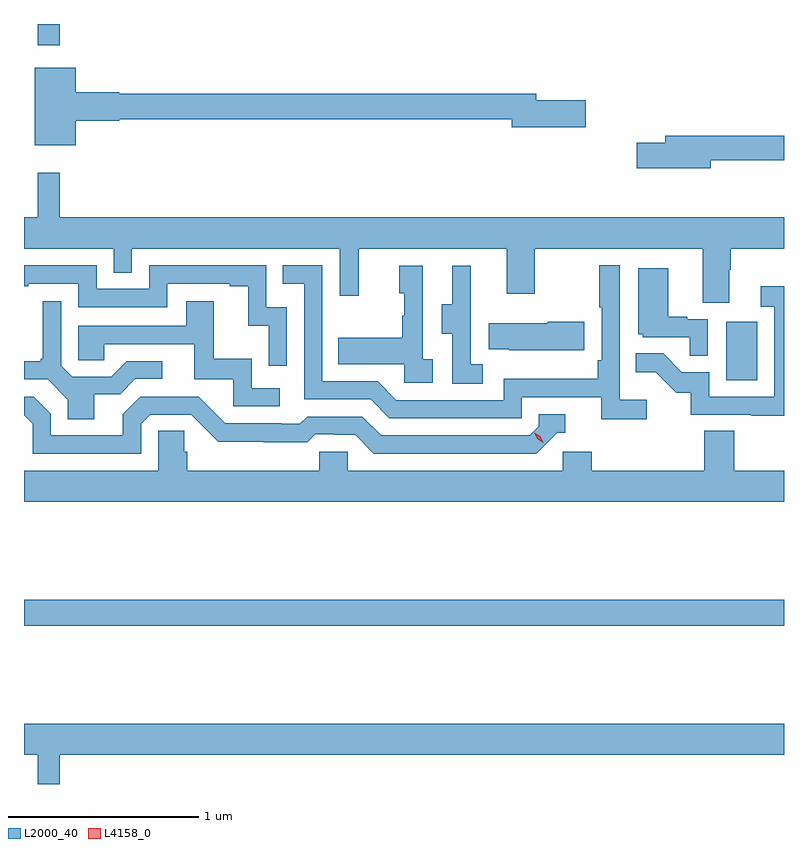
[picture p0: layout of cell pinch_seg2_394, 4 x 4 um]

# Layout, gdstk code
import gdstk
lib = gdstk.Library(unit=1e-6, precision=1e-09)
def R(c, l, rs):  # rectangles x0, y0, x1, y1
    for r in rs: c.add(gdstk.rectangle(r[:2], r[2:], *l))
def P(c, l, *ps):  # polygons
    for p in ps: c.add(gdstk.Polygon(p, *l))
L2000_40 = (2000, 40)
L4158_0 = (4158, 0)

pinch_seg2_394 = lib.new_cell('pinch_seg2_394')
R(pinch_seg2_394, L2000_40, [(983.066,615.016,987.066,615.152), (986.762,616.308,986.926,616.615), (983.138,618.069,983.255,618.182)])
P(pinch_seg2_394, L2000_40, [(983.338,617.672),(983.568,617.672),(983.568,617.68),(985.634,617.68),(985.634,617.638),(986.023,617.638),(986.023,617.78),(985.762,617.78),(985.762,617.816),(983.568,617.816),(983.568,617.824),(983.338,617.824),(983.338,617.953),(983.123,617.953),(983.123,617.543),(983.338,617.543)],
  [(986.68,617.466),(987.066,617.466),(987.066,617.594),(986.441,617.594),(986.441,617.558),(986.292,617.558),(986.292,617.423),(986.68,617.423)],
  [(986.779,616.888),(986.787,616.888),(986.787,617),(987.066,617),(987.066,617.164),(983.255,617.164),(983.255,617.398),(983.138,617.398),(983.138,617.164),(983.066,617.164),(983.066,617),(983.538,617),(983.538,616.873),(983.634,616.873),(983.634,617),(984.729,617),(984.729,616.752),(984.827,616.752),(984.827,617),(985.607,617),(985.607,616.761),(985.755,616.761),(985.755,617),(986.639,617),(986.639,616.714),(986.779,616.714)],
  [(986.344,616.204),(986.202,616.204),(986.202,616.912),(986.094,616.912),(986.094,616.69),(986.106,616.69),(986.106,616.411),(986.086,616.411),(986.086,616.315),(985.59,616.315),(985.59,616.203),(985.026,616.203),(984.927,616.302),(984.636,616.302),(984.636,616.911),(984.427,616.911),(984.427,616.815),(984.54,616.815),(984.54,616.206),(984.89,616.206),(984.989,616.107),(985.686,616.107),(985.686,616.218),(986.105,616.218),(986.105,616.102),(986.344,616.102)],
  [(984.45,616.692),(984.342,616.692),(984.342,616.911),(983.724,616.911),(983.724,616.788),(983.448,616.788),(983.448,616.911),(983.066,616.911),(983.066,616.803),(983.089,616.803),(983.089,616.815),(983.352,616.815),(983.352,616.692),(983.82,616.692),(983.82,616.815),(984.149,616.815),(984.149,616.803),(984.245,616.803),(984.245,616.595),(984.354,616.595),(984.354,616.383),(984.45,616.383)],
  [(985.216,616.418),(985.164,616.418),(985.164,616.909),(985.04,616.909),(985.04,616.764),(985.066,616.764),(985.066,616.646),(985.056,616.646),(985.056,616.531),(984.721,616.531),(984.721,616.391),(985.068,616.391),(985.068,616.293),(985.216,616.293)],
  [(985.48,616.391),(985.416,616.391),(985.416,616.695),(985.418,616.695),(985.418,616.909),(985.319,616.909),(985.319,616.707),(985.265,616.707),(985.265,616.552),(985.32,616.552),(985.32,616.288),(985.48,616.288)],
  [(986.664,616.629),(986.558,616.629),(986.558,616.642),(986.458,616.642),(986.458,616.897),(986.3,616.897),(986.3,616.548),(986.322,616.548),(986.322,616.533),(986.569,616.533),(986.569,616.435),(986.664,616.435)],
  [(987.066,616.801),(986.943,616.801),(986.943,616.695),(987.015,616.695),(987.015,616.221),(986.673,616.221),(986.673,616.35),(986.529,616.35),(986.431,616.448),(986.287,616.448),(986.287,616.349),(986.391,616.349),(986.498,616.242),(986.575,616.242),(986.575,616.125),(986.893,616.125),(986.893,616.12),(987.066,616.12)],
  [(984.412,616.266),(984.264,616.266),(984.264,616.42),(984.065,616.42),(984.065,616.723),(983.921,616.723),(983.921,616.593),(983.352,616.593),(983.352,616.413),(983.489,616.413),(983.489,616.497),(983.963,616.497),(983.963,616.311),(984.168,616.311),(984.168,616.17),(984.412,616.17)],
  [(983.437,616.234),(983.572,616.234),(983.652,616.314),(983.794,616.314),(983.794,616.407),(983.606,616.407),(983.525,616.326),(983.319,616.326),(983.262,616.383),(983.262,616.723),(983.165,616.723),(983.165,616.42),(983.154,616.42),(983.154,616.408),(983.066,616.408),(983.066,616.311),(983.19,616.311),(983.297,616.204),(983.297,616.102),(983.437,616.102)],
  [(986.014,616.614),(985.823,616.614),(985.823,616.606),(985.513,616.606),(985.513,616.469),(985.621,616.469),(985.621,616.466),(986.014,616.466)],
  [(983.682,616.077),(983.73,616.125),(983.946,616.125),(984.088,615.983),(984.324,615.983),(984.324,615.981),(984.557,615.981),(984.599,616.023),(984.702,616.023),(984.702,616.02),(984.809,616.02),(984.908,615.921),(985.761,615.921),(985.872,616.032),(985.915,616.032),(985.915,616.128),(985.776,616.128),(985.776,616.065),(985.728,616.017),(984.945,616.017),(984.846,616.116),(984.557,616.116),(984.518,616.077),(984.419,616.077),(984.419,616.08),(984.126,616.08),(983.985,616.221),(983.679,616.221),(983.585,616.127),(983.585,616.017),(983.208,616.017),(983.208,616.131),(983.118,616.221),(983.066,616.221),(983.066,616.123),(983.112,616.077),(983.112,615.921),(983.682,615.921)],
  [(987.066,615.832),(986.805,615.832),(986.805,616.04),(986.645,616.04),(986.645,615.832),(986.054,615.832),(986.054,615.93),(985.902,615.93),(985.902,615.832),(984.771,615.832),(984.771,615.93),(984.621,615.93),(984.621,615.832),(983.924,615.832),(983.924,615.93),(983.909,615.93),(983.909,616.04),(983.772,616.04),(983.772,615.832),(983.066,615.832),(983.066,615.668),(987.066,615.668)],
  [(983.255,614.336),(987.066,614.336),(987.066,614.5),(983.066,614.5),(983.066,614.336),(983.138,614.336),(983.138,614.182),(983.255,614.182)])
P(pinch_seg2_394, L4158_0, [(985.798,615.978),(985.767,615.998),(985.751,616.03),(985.751,616.03),(985.751,616.03),(985.782,616.011),(985.799,615.978),(985.799,615.978)])

lib.write_gds('pinch_seg2_394.gds')
